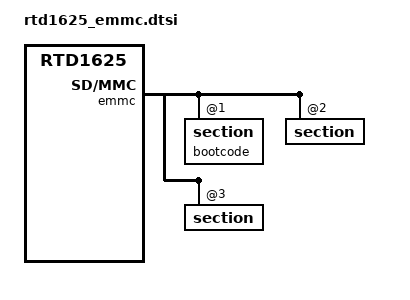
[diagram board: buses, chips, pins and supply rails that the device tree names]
// SPDX-License-Identifier: GPL-2.0+

/ {
	#address-cells = <1>;
	#size-cells = <1>;

	binman: binman {
	emmc {
		filename = "bind.bin";
		allow-repack;
		bootcode: section@1 {
			size = <0x3B000>;
			align-size = <0x1000>;
			pad-byte = <0xff>;
			scs_cert: blob@1 {
				filename = "scs_certificate/SCS_Certificate.bin";
				size = <0x400>;
			};
			scs_param: blob@2 {
				filename = "scs_param/0000/SCS_Params_Area.dev.bin";
				size = <0x200>;
				align-size = <0x200>;
			};
			extrom: blob@3 {
				filename = "extrom_dice_lib/Extrom_Dice_Lib_Area.bin";
				size = <0x14200>;
				align-size = <0x200>;
			};
			auxcode: blob@4 {
				filename = "auxcode/Auxcode_Area.aiot.bin";
				size = <0x26800>;
				align-size = <0x200>;
			};
		};
		section@2 {
			filename = "trustfw.itb";
			size = <0x96000>;
			pad-byte = <0xff>;
			align-size = <0x1000>;
			fit {
				description = "TrustFW fitImage for Kent";
				fit,external-offset = <0x1000>;
				fit,align = <0x1000>;

				fitimages: images {
					//size = <0x93000>;
					atf_cert {
						description = "atf certificate image";
						type = "firmware";
						arch = "arm64";
						compression = "none";

						blob {
							size = <0x400>;
							filename = "atf_certificate/ATF_Certificate.bin";
						};
					};
					rtk_param {
						description = "rtk param image";
						type = "firmware";
						arch = "arm64";
						compression = "none";

						blob {
							size = <0x800>;
							filename = "rtk_param/RTK_Params_Area.bin";
						};
					};
					dram_init {
						description = "dram init image";
						type = "standalone";
						arch = "arm64";
						compression = "none";

						blob {
							size = <0x40000>;
							filename = "dram_init/DRAM_Init_Area.bin";
						};
					};
					bl31 {
						description = "bl31 image";
						type = "standalone";
						arch = "arm64";
						compression = "none";

						blob {
							size = <0x32000>;
							filename = "bl31/BL31_Area.bin";
						};
					};
				};
			};
		};
		section@3 {
			pad-byte = <0xff>;
			blob@1 {
				filename = "u-boot-spl.bin_pad";
				size = <0x25800>;
				align-size = <0x200>;
			};
			spl_sig: blob-ext@1 {
				filename = "u-boot-spl.sig";
				size = <0x200>; /* 256 */
				optional;
			};
			blob@2 {
				filename = "u-boot.img";
			};
		};
		fdtmap {
		};
		image-header {
			location = "end";
		};
	}; // eMMC image
	};
};
